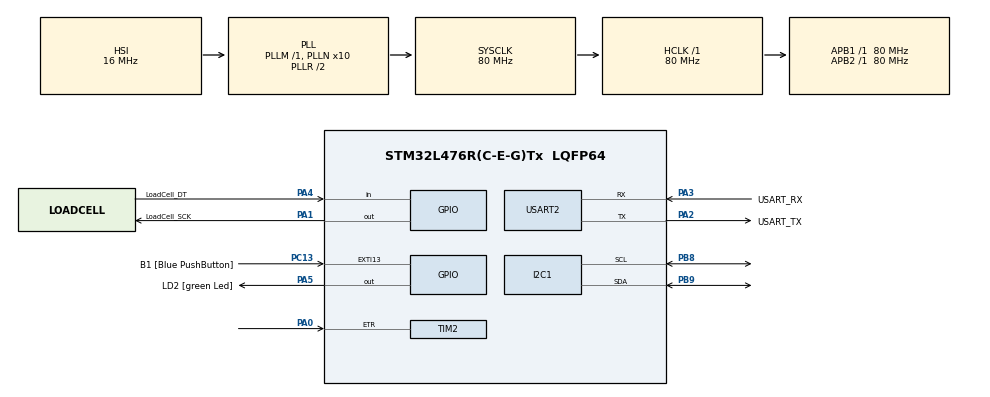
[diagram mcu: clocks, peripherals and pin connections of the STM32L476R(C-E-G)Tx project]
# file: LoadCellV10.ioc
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I2C1.Timing=0x10909CEC
Mcu.Family=STM32L4
Mcu.Name=STM32L476R(C-E-G)Tx
Mcu.Package=LQFP64
NVIC.PriorityGroup=NVIC_PRIORITYGROUP_4
NVIC.TIM6_DAC_IRQn=true\:0\:0\:false\:false\:true\:true\:true\:true
PA0.Signal=S_TIM2_ETR
PA1.GPIO_Label=LoadCell_SCK
PA1.GPIO_ModeDefaultOutputPP=GPIO_MODE_OUTPUT_PP
PA1.GPIO_PuPd=GPIO_NOPULL
PA1.Signal=GPIO_Output
PA13\ (JTMS-SWDIO).GPIO_Label=TMS
PA13\ (JTMS-SWDIO).Mode=Serial_Wire
PA13\ (JTMS-SWDIO).Signal=SYS_JTMS-SWDIO
PA14\ (JTCK-SWCLK).GPIO_Label=TCK
PA14\ (JTCK-SWCLK).Mode=Serial_Wire
PA14\ (JTCK-SWCLK).Signal=SYS_JTCK-SWCLK
PA2.GPIO_Label=USART_TX
PA2.GPIO_Mode=GPIO_MODE_AF_PP
PA2.GPIO_PuPd=GPIO_NOPULL
PA2.GPIO_Speed=GPIO_SPEED_FREQ_VERY_HIGH
PA2.Mode=Asynchronous
PA2.Signal=USART2_TX
PA3.GPIO_Label=USART_RX
PA3.GPIO_Mode=GPIO_MODE_AF_PP
PA3.GPIO_PuPd=GPIO_NOPULL
PA3.GPIO_Speed=GPIO_SPEED_FREQ_VERY_HIGH
PA3.Mode=Asynchronous
PA3.Signal=USART2_RX
PA4.GPIO_Label=LoadCell_DT
PA4.Signal=GPIO_Input
PA5.GPIO_Label=LD2 [green Led]
PA5.GPIO_ModeDefaultOutputPP=GPIO_MODE_OUTPUT_PP
PA5.GPIO_PuPd=GPIO_NOPULL
PA5.GPIO_Speed=GPIO_SPEED_FREQ_LOW
PA5.Signal=GPIO_Output
PB3\ (JTDO-TRACESWO).GPIO_Label=SWO
PB3\ (JTDO-TRACESWO).Signal=SYS_JTDO-SWO
PB8.Mode=I2C
PB8.Signal=I2C1_SCL
PB9.Mode=I2C
PB9.Signal=I2C1_SDA
PC13.GPIO_Label=B1 [Blue PushButton]
PC13.GPIO_ModeDefaultEXTI=GPIO_MODE_IT_FALLING
PC13.GPIO_PuPd=GPIO_NOPULL
PC13.Signal=GPXTI13
PC14-OSC32_IN\ (PC14).Mode=LSE-External-Oscillator
PC14-OSC32_IN\ (PC14).Signal=RCC_OSC32_IN
PC15-OSC32_OUT\ (PC15).Mode=LSE-External-Oscillator
PC15-OSC32_OUT\ (PC15).Signal=RCC_OSC32_OUT
PH0-OSC_IN\ (PH0).Signal=RCC_OSC_IN
PH1-OSC_OUT\ (PH1).Signal=RCC_OSC_OUT
ProjectManager.HeapSize=0x200
ProjectManager.StackSize=0x400
ProjectManager.TargetToolchain=STM32CubeIDE
RCC.ADCFreq_Value=64000000
RCC.AHBFreq_Value=80000000
RCC.APB1Freq_Value=80000000
RCC.APB1TimFreq_Value=80000000
RCC.APB2Freq_Value=80000000
RCC.APB2TimFreq_Value=80000000
RCC.CortexFreq_Value=80000000
RCC.HCLKFreq_Value=80000000
RCC.HSE_VALUE=8000000
RCC.HSI_VALUE=16000000
RCC.MSI_VALUE=4000000
RCC.PLLN=10
RCC.PLLSourceVirtual=RCC_PLLSOURCE_HSI
RCC.PREFETCH_ENABLE=1
RCC.SYSCLKFreq_VALUE=80000000
RCC.SYSCLKSource=RCC_SYSCLKSOURCE_PLLCLK
RCC.USBFreq_Value=64000000
RCC.VCOOutputFreq_Value=160000000
SH.S_TIM2_ETR.0=TIM2_ETR,TriggerSource_ETR
TIM2.Slave_TriggerFilter=10
TIM4.AutoReloadPreload=TIM_AUTORELOAD_PRELOAD_ENABLE
TIM4.Prescaler=79
TIM6.Period=1999
TIM6.Prescaler=7999
USART2.VirtualMode-Asynchronous=VM_ASYNC
VP_TIM2_VS_ControllerModeClock.Mode=Clock Mode
VP_TIM4_VS_ClockSourceINT.Mode=Internal
VP_TIM6_VS_ClockSourceINT.Mode=Enable_Timer
board=NUCLEO-L476RG

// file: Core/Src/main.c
/* USER CODE BEGIN Header */
/* USER CODE END Header */
#include "main.h"
#include "i2c.h"
#include "tim.h"
#include "usart.h"
#include "gpio.h"

/* USER CODE BEGIN Includes */
#include <stdio.h>  // sprintf fonksiyonu için gerekli
#include "lcd_i2c.h" // Yeni kütüphaneyi ekledik

#include "ssd1306.h"       // lcd_i2c.h yerine bunu ekledik

/* USER CODE END Includes */

/* USER CODE BEGIN PV */
long hx711_ham_veri = 0;
long hx711_dara_degeri = 0;   // Ofset değerimiz
long hx711_net_veri = 0;    // Dara düşülmüş sonuç
volatile uint8_t saniye_doldu = 0;

// Kalibrasyon için eklenenler:
float referans_gram = 500.0;      // Load cell üzerine koyduğun ağırlığın gerçek gramı (Örn: 500g)
long hx711_referans_veri = 112000; // O ağırlığı koyduğunda okuduğun hx711_net_veri değeri
float kalibrasyon_faktoru = 0;    // Hesaplanan katsayı
float gercek_gram = 0;            // Sonuç
int buton_durumu_izle=0;

volatile uint8_t timer_200ms_bayrak = 0;
long hx711_toplam = 0;
int okuma_sayaci = 0;
float son_agirlik_ortalamasi = 0;

char lcd_buffer[20];       // 'lcd_buffer' hatasını çözer
uint32_t pulse_sayisi = 0; // 'pulse_sayisi' hatasını çözer
uint32_t son_sayac = 0;    // Pulse hesaplama için gerekli

#define PI 3.14159265
#define DISK_CAPI 4.0        // cm
float disk_cevre = PI * DISK_CAPI; // Yaklaşık 12.566 cm
float anlik_hiz = 0;         // cm/sn
double toplam_uzunluk = 0;   // cm (Hassasiyet için double)

/* USER CODE END PV */

void SystemClock_Config(void);

/* USER CODE BEGIN 0 */

long HX711_Basit_Oku(void)
{
	long count = 0;

	// 1. Sensörün hazır olmasını bekle (DT pini LOW olmalı)
	// GPIO_PIN_4 yerine LoadCell_DT_Pin, GPIOA yerine LoadCell_DT_GPIO_Port kullanıyoruz
	while(HAL_GPIO_ReadPin(LoadCell_DT_GPIO_Port, LoadCell_DT_Pin) == GPIO_PIN_SET);

	for(int i=0; i<24; i++)
	{
		HAL_GPIO_WritePin(LoadCell_SCK_GPIO_Port, LoadCell_SCK_Pin, GPIO_PIN_SET);   // SCK HIGH
		count = count << 1;
		HAL_GPIO_WritePin(LoadCell_SCK_GPIO_Port, LoadCell_SCK_Pin, GPIO_PIN_RESET); // SCK LOW

		if(HAL_GPIO_ReadPin(LoadCell_DT_GPIO_Port, LoadCell_DT_Pin) == GPIO_PIN_SET)
		{
			count++;
		}
	}

	// 25. Pulse
	HAL_GPIO_WritePin(LoadCell_SCK_GPIO_Port, LoadCell_SCK_Pin, GPIO_PIN_SET);
	HAL_GPIO_WritePin(LoadCell_SCK_GPIO_Port, LoadCell_SCK_Pin, GPIO_PIN_RESET);

	if(count & 0x800000) count |= 0xFF000000;

	return count;
}

void HX711_Dara_Al(void)
{
	long toplam = 0;
	// 10 örnek alarak gürültüyü engelleyelim
	for(int i=0; i<10; i++)
	{
		toplam += HX711_Basit_Oku();
		HAL_Delay(10);
	}
	hx711_dara_degeri = toplam / 10;
}

/* USER CODE END 0 */

int main(void)
{

	/* MCU Configuration--------------------------------------------------------*/

	/* Reset of all peripherals, Initializes the Flash interface and the Systick. */
	HAL_Init();

	/* Configure the system clock */
	SystemClock_Config();

	/* Initialize all configured peripherals */
	MX_GPIO_Init();
	MX_USART2_UART_Init();
	MX_TIM6_Init();
	MX_I2C1_Init();
	MX_TIM4_Init();
	MX_TIM2_Init();
	/* USER CODE BEGIN 2 */

	/*
	lcd_init();
	lcd_clear(); // Ekranın tamamını temizler ve imleci (0,0) konumuna getirir.
	lcd_put_cur(0, 0);
	lcd_send_string("Sistem Aciliyor");
	HAL_Delay(1000);
	lcd_send_cmd(0x01); // Ekranı temizle
	 */

	/* --- BAŞLANGIÇ EKRANI --- */
	ssd1306_Init();
	ssd1306_Fill(Black);

	// "System" kelimesini ortalayalım (X=40 civarı, Y=2 üst satır)
	ssd1306_SetCursor(40, 8);
	ssd1306_WriteString("System", Font_7x10, White);

	// "Starting" kelimesini ortalayalım (X=32 civarı, Y=18 alt satır)
	ssd1306_SetCursor(32, 24);
	ssd1306_WriteString("Starting", Font_7x10, White);

	ssd1306_UpdateScreen();
	HAL_Delay(500); // Yazının okunması için 2 saniye bekle

	HAL_TIM_Base_Start_IT(&htim6); // Kesmeli modda başlat (IT takısı önemli)
	HAL_TIM_Base_Start(&htim2); // TIM2 donanım sayacını başlat
	HAL_TIM_Base_Start(&htim4);
	// Program başlarken sensörün oturması için kısa bir bekleme ve İLK DARA
	HAL_Delay(500);
	HX711_Dara_Al();

	/* USER CODE END 2 */

	/* Infinite loop */
	/* USER CODE BEGIN WHILE */

	while (1)
	{
		// --- 1. BUTON KONTROLÜ (Dara Yenileme) ---
		if (HAL_GPIO_ReadPin(GPIOC, GPIO_PIN_13) == GPIO_PIN_RESET)
		{
			buton_durumu_izle=1;
			HAL_Delay(50); // Ark (Debounce) önleme
			if (HAL_GPIO_ReadPin(GPIOC, GPIO_PIN_13) == GPIO_PIN_RESET)
			{
				HX711_Dara_Al(); // Butona basılınca darayı tekrar al
				hx711_toplam = 0; // Toplamı sıfırla ki eski veri karışmasın
				okuma_sayaci = 0;
				// Butondan elini çekene kadar bekle ki sürekli dara almasın
				while(HAL_GPIO_ReadPin(GPIOC, GPIO_PIN_13) == GPIO_PIN_RESET);
			}
		}
		else
		{
			buton_durumu_izle=0;
		}

		// Her 200ms'de bir buraya girer
		if (timer_200ms_bayrak == 1)
		{
			timer_200ms_bayrak = 0;
			HAL_GPIO_TogglePin(LD2_GPIO_Port, LD2_Pin);

			// 1. Her 200ms'de bir hızlıca oku ve toplama ekle
			hx711_ham_veri = HX711_Basit_Oku();
			hx711_toplam += (hx711_ham_veri - hx711_dara_degeri);
			okuma_sayaci++;

			// 2. 5 okuma tamamlandı mı? (Yani 1 saniye geçti mi?)

			if (okuma_sayaci >= 5) // 1 Saniye dolduğunda (200ms * 5)
			{
			    /* --- 1. GRUP: VERİ TOPLAMA (PULSE VE SAYAÇ) --- */
			    uint32_t su_anki_sayac = __HAL_TIM_GET_COUNTER(&htim2);
			    uint32_t fark;

			    // Taşma kontrolü ile fark hesaplama
			    if (su_anki_sayac >= son_sayac) {
			        fark = su_anki_sayac - son_sayac;
			    } else {
			        fark = (4294967295 - son_sayac) + su_anki_sayac;
			    }

			    /* --- 2. GRUP: MEKANİK HESAPLAMALAR (HIZ VE MESAFE) --- */
			    pulse_sayisi = fark;             // Saniyedeki tur (Hz)
			    anlik_hiz = (float)fark * disk_cevre; // cm/sn
			    // Toplam uzunluğu metreye çevirerek biriktir (cm * 0.01 = m)
			    toplam_uzunluk += (double)fark * disk_cevre * 0.01;

			    son_sayac = su_anki_sayac; // Bir sonraki saniye için kaydet

			    /* --- 3. GRUP: AĞIRLIK HESAPLAMALARI (HX711) --- */
			    kalibrasyon_faktoru = (float)referans_gram / (float)hx711_referans_veri;
			    long ortalama_raw = hx711_toplam / 5;
			    son_agirlik_ortalamasi = (float)ortalama_raw * kalibrasyon_faktoru;

			    /* --- 4. GRUP: EKRAN GÜNCELLEME (LCD) --- */
			    /*
			    // lcd_clear() kullanmıyoruz, sadece imleci başa alıyoruz (Daha stabil görüntü)
			    lcd_put_cur(0, 0);
			    //sprintf(lcd_buffer, "%5.1fg %5.1fcm/s", son_agirlik_ortalamasi, anlik_hiz);
			    sprintf(lcd_buffer, "%5.1fg  %4luHz ", son_agirlik_ortalamasi, (unsigned long)pulse_sayisi);
			    lcd_send_string(lcd_buffer);

			    lcd_put_cur(1, 0);
			    //sprintf(lcd_buffer, "B: %8.2f m  ", toplam_uzunluk);
			    sprintf(lcd_buffer, "%4.1fcm/s %6.2fm", anlik_hiz, toplam_uzunluk);
			    lcd_send_string(lcd_buffer);
			    */

			    /* --- 4. GRUP: EKRAN GÜNCELLEME (OLED) --- */
			    ssd1306_Fill(Black); // Ekranı (bufferı) temizle

			    // İlk satır: Gram ve Hz
			    /* --- 1. SATIR: Ağırlık ve Frekans (Sağa Yasla) --- */
			    sprintf(lcd_buffer, "%5.1fg", son_agirlik_ortalamasi);
			    int agirlik_genisligi = strlen(lcd_buffer) * 10;
			    int agirlik_x_baslangic = 128 - agirlik_genisligi - 2;
			    if(agirlik_x_baslangic < 0) agirlik_x_baslangic = 0;
			    ssd1306_SetCursor(agirlik_x_baslangic, 4);
			    ssd1306_WriteString(lcd_buffer, Font_7x10, White);

			    /* --- Hız İçin Sağa Yaslama (Tam Sayı) --- */
			    sprintf(lcd_buffer, "%luHz %ucm/s", (unsigned long)pulse_sayisi, (unsigned int)anlik_hiz);
			    int hizi_genisligi = strlen(lcd_buffer) * 10;
			    int hizi_x_baslangic = 128 - hizi_genisligi - 2;
			    if(hizi_x_baslangic < 0) hizi_x_baslangic = 0;
			    ssd1306_SetCursor(hizi_x_baslangic, 14);
			    ssd1306_WriteString(lcd_buffer, Font_7x10, White);

			    /* --- Metre İçin Sağa Yaslama --- */
			    sprintf(lcd_buffer, "%6.1fm", toplam_uzunluk);
			    int metre_genisligi = strlen(lcd_buffer) * 10;
			    ssd1306_SetCursor(128 - metre_genisligi, 24);
			    ssd1306_WriteString(lcd_buffer, Font_7x10, White);

			    //ssd1306_WriteString("ABC abc", Font_7x10, White);
			    // Tamponu ekrana gönder
			    ssd1306_UpdateScreen();

			    /* --- 5. GRUP: SIFIRLAMA VE HAZIRLIK --- */

			    hx711_toplam = 0;
			    okuma_sayaci = 0;
			}
		}

		/* USER CODE END WHILE */

	}
}

void SystemClock_Config(void)
{
	RCC_OscInitTypeDef RCC_OscInitStruct = {0};
	RCC_ClkInitTypeDef RCC_ClkInitStruct = {0};

	/** Configure the main internal regulator output voltage
	 */
	if (HAL_PWREx_ControlVoltageScaling(PWR_REGULATOR_VOLTAGE_SCALE1) != HAL_OK)
	{
		Error_Handler();
	}

	/** Initializes the RCC Oscillators according to the specified parameters
	 * in the RCC_OscInitTypeDef structure.
	 */
	RCC_OscInitStruct.OscillatorType = RCC_OSCILLATORTYPE_HSI;
	RCC_OscInitStruct.HSIState = RCC_HSI_ON;
	RCC_OscInitStruct.HSICalibrationValue = RCC_HSICALIBRATION_DEFAULT;
	RCC_OscInitStruct.PLL.PLLState = RCC_PLL_ON;
	RCC_OscInitStruct.PLL.PLLSource = RCC_PLLSOURCE_HSI;
	RCC_OscInitStruct.PLL.PLLM = 1;
	RCC_OscInitStruct.PLL.PLLN = 10;
	RCC_OscInitStruct.PLL.PLLP = RCC_PLLP_DIV7;
	RCC_OscInitStruct.PLL.PLLQ = RCC_PLLQ_DIV2;
	RCC_OscInitStruct.PLL.PLLR = RCC_PLLR_DIV2;
	if (HAL_RCC_OscConfig(&RCC_OscInitStruct) != HAL_OK)
	{
		Error_Handler();
	}

	/** Initializes the CPU, AHB and APB buses clocks
	 */
	RCC_ClkInitStruct.ClockType = RCC_CLOCKTYPE_HCLK|RCC_CLOCKTYPE_SYSCLK
			|RCC_CLOCKTYPE_PCLK1|RCC_CLOCKTYPE_PCLK2;
	RCC_ClkInitStruct.SYSCLKSource = RCC_SYSCLKSOURCE_PLLCLK;
	RCC_ClkInitStruct.AHBCLKDivider = RCC_SYSCLK_DIV1;
	RCC_ClkInitStruct.APB1CLKDivider = RCC_HCLK_DIV1;
	RCC_ClkInitStruct.APB2CLKDivider = RCC_HCLK_DIV1;

	if (HAL_RCC_ClockConfig(&RCC_ClkInitStruct, FLASH_LATENCY_4) != HAL_OK)
	{
		Error_Handler();
	}
}

/* USER CODE BEGIN 4 */
void HAL_TIM_PeriodElapsedCallback(TIM_HandleTypeDef *htim)
{
	if (htim->Instance == TIM6)
	{
		timer_200ms_bayrak = 1; // Bayrağı kaldır ki 'while' döngüsü çalışsın
	}
}

/* USER CODE END 4 */

void Error_Handler(void)
{
}
